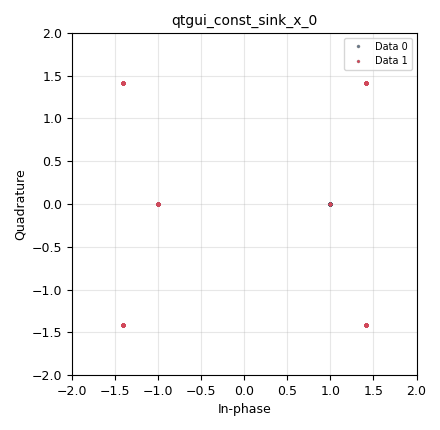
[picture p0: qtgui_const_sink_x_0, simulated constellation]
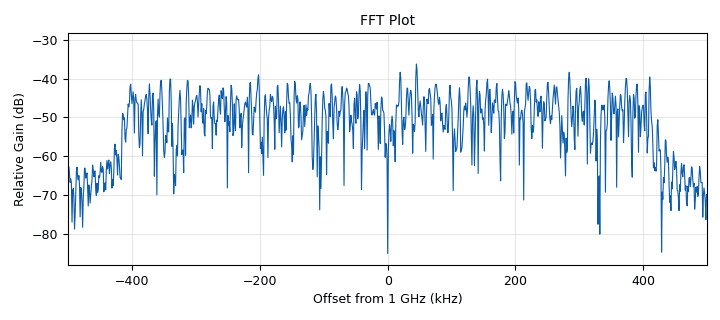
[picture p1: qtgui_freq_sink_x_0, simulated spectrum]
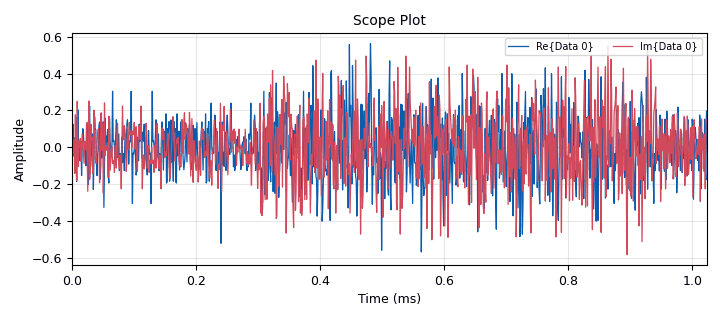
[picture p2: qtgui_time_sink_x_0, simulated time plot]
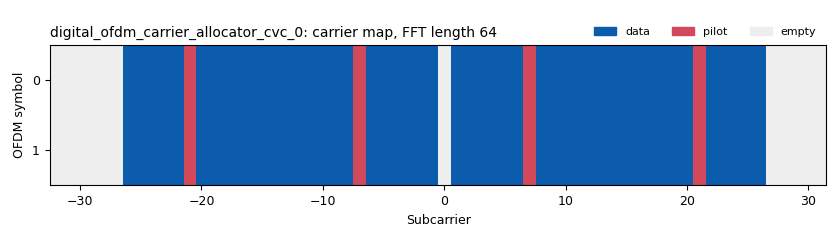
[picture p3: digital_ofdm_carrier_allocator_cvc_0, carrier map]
options:
  parameters:
    category: Custom
    description: OFDM Communication System Implementation on PlutoSDR and GNURadio
    generate_options: qt_gui
    id: ofdm
    output_language: python
    title: ofdm
  states: {}

blocks:
- name: center_freq
  id: variable
  parameters:
    value: 1e9
  states: {}
- name: fft_len
  id: variable
  parameters:
    value: '64'
  states: {}
- name: header_equalizer
  id: variable
  parameters:
    value: digital.ofdm_equalizer_simpledfe(fft_len, header_mod.base(), occupied_carriers, pilot_carriers, pilot_symbols)
  states: {}
- name: header_formatter_rx
  id: variable
  parameters:
    value: digital.packet_header_ofdm(occupied_carriers, n_syms=1, len_tag_key=packet_length_tag_key, frame_len_tag_key=length_tag_key, bits_per_header_sym=header_mod.bits_per_symbol(), bits_per_payload_sym=payload_mod.bits_per_symbol(), scramble_header=False)
  states: {}
- name: header_formatter_tx
  id: variable
  parameters:
    value: digital.header_format_ofdm(occupied_carriers, 1, length_tag_key,)
  states: {}
- name: header_mod
  id: variable
  parameters:
    value: digital.constellation_bpsk()
  states: {}
- name: length_tag_key
  id: variable
  parameters:
    value: '"packet_len"'
  states: {}
- name: occupied_carriers
  id: variable
  parameters:
    value: (list(range(-26, -21)) + list(range(-20, -7)) + list(range(-6, 0)) + list(range(1, 7)) + list(range(8, 21)) + list(range(22, 27)),)
  states: {}
- name: packet_len
  id: variable
  parameters:
    value: '96'
  states: {}
- name: packet_length_tag_key
  id: variable
  parameters:
    value: '"packet_len"'
  states: {}
- name: payload_equalizer
  id: variable
  parameters:
    value: digital.ofdm_equalizer_simpledfe(fft_len, payload_mod.base(), occupied_carriers, pilot_carriers, pilot_symbols, 1)
  states: {}
- name: payload_mod
  id: variable
  parameters:
    value: digital.constellation_qpsk()
  states: {}
- name: pilot_carriers
  id: variable
  parameters:
    value: ((-21, -7, 7, 21,),)
  states: {}
- name: pilot_symbols
  id: variable
  parameters:
    value: ((1, 1, 1, -1,),)
  states: {}
- name: rolloff
  id: variable
  parameters:
    value: '0'
  states: {}
- name: samp_rate
  id: variable
  parameters:
    value: 1e6
  states: {}
- name: sync_word1_rx
  id: variable
  parameters:
    value: '[0., 0., 0., 0., 0., 0., 0., 1.41421356, 0., -1.41421356, 0., 1.41421356, 0., -1.41421356, 0., -1.41421356, 0., -1.41421356, 0., 1.41421356, 0., -1.41421356, 0., 1.41421356, 0., -1.41421356, 0., -1.41421356, 0., -1.41421356, 0., -1.41421356, 0., 1.41421356, 0., -1.41421356, 0., 1.41421356, 0., 1.41421356, 0., 1.41421356, 0., -1.41421356, 0., 1.41421356, 0., 1.41421356, 0., 1.41421356, 0., -1.41421356, 0., 1.41421356, 0., 1.41421356, 0., 1.41421356, 0., 0., 0., 0., 0., 0.]'
  states: {}
- name: sync_word1_tx
  id: variable
  parameters:
    value: '[0., 0., 0., 0., 0., 0., 0., 1.41421356, 0., -1.41421356, 0., 1.41421356, 0., -1.41421356, 0., -1.41421356, 0., -1.41421356, 0., 1.41421356, 0., -1.41421356, 0., 1.41421356, 0., -1.41421356, 0., -1.41421356, 0., -1.41421356, 0., -1.41421356, 0., 1.41421356, 0., -1.41421356, 0., 1.41421356, 0., 1.41421356, 0., 1.41421356, 0., -1.41421356, 0., 1.41421356, 0., 1.41421356, 0., 1.41421356, 0., -1.41421356, 0., 1.41421356, 0., 1.41421356, 0., 1.41421356, 0., 0., 0., 0., 0., 0.]'
  states: {}
- name: sync_word2_rx
  id: variable
  parameters:
    value: '[0j, 0j, 0j, 0j, 0j, 0j, (-1+0j), (-1+0j), (-1+0j), (-1+0j), (1+0j), (1+0j), (-1+0j), (-1+0j), (-1+0j), (1+0j), (-1+0j), (1+0j), (1+0j), (1 +0j), (1+0j), (1+0j), (-1+0j), (-1+0j), (-1+0j), (-1+0j), (-1+0j), (1+0j), (-1+0j), (-1+0j), (1+0j), (-1+0j), 0j, (1+0j), (-1+0j), (1+0j), (1+0j), (1+0j), (-1+0j), (1+0j), (1+0j), (1+0j), (-1+0j), (1+0j), (1+0j), (1+0j), (1+0j), (-1+0j), (1+0j), (-1+0j), (-1+0j), (-1+0j), (1+0j), (-1+0j), (1+0j), (-1+0j), (-1+0j), (-1+0j), (-1+0j), 0j, 0j, 0j, 0j, 0j]'
  states: {}
- name: sync_word2_tx
  id: variable
  parameters:
    value: '[0, 0, 0, 0, 0, 0, -1, -1, -1, -1, 1, 1, -1, -1, -1, 1, -1, 1, 1, 1, 1, 1, -1, -1, -1, -1, -1, 1, -1, -1, 1, -1, 0, 1, -1, 1, 1, 1, -1, 1, 1, 1, -1, 1, 1, 1, 1, -1, 1, -1, -1, -1, 1, -1, 1, -1, -1, -1, -1, 0, 0, 0, 0, 0] '
  states: {}
- name: analog_frequency_modulator_fc_0
  id: analog_frequency_modulator_fc
  parameters:
    sensitivity: '-2.0/fft_len'
  states: {state: disabled}
- name: analog_random_source_x_0
  id: analog_random_source_x
  parameters:
    max: '255'
    min: '0'
    num_samps: '1000'
    repeat: 'True'
    type: byte
  states: {}
- name: blocks_delay_0
  id: blocks_delay
  parameters:
    delay: fft_len+fft_len//4
    type: complex
  states: {state: disabled}
- name: blocks_multiply_const_vxx_0
  id: blocks_multiply_const_vxx
  parameters:
    const: '0.02'
    type: complex
  states: {}
- name: blocks_multiply_xx_0
  id: blocks_multiply_xx
  parameters:
    type: complex
  states: {state: disabled}
- name: blocks_repack_bits_bb_0
  id: blocks_repack_bits_bb
  parameters:
    align_output: 'True'
    endianness: gr.GR_LSB_FIRST
    k: payload_mod.bits_per_symbol()
    l: '8'
    len_tag_key: packet_length_tag_key
  states: {state: disabled}
- name: blocks_repack_bits_bb_1
  id: blocks_repack_bits_bb
  parameters:
    endianness: gr.GR_LSB_FIRST
    k: '8'
    l: int(payload_mod.bits_per_symbol())
    len_tag_key: length_tag_key
  states: {}
- name: blocks_repack_bits_bb_2
  id: blocks_repack_bits_bb
  parameters:
    endianness: gr.GR_LSB_FIRST
    k: '8'
    l: '1'
    len_tag_key: length_tag_key
  states: {}
- name: blocks_stream_to_tagged_stream_0
  id: blocks_stream_to_tagged_stream
  parameters:
    len_tag_key: '"packet_len"'
    packet_len: int(packet_len)
    type: byte
  states: {}
- name: blocks_tag_debug_1
  id: blocks_tag_debug
  parameters:
    name: Rx Bytes
    type: byte
  states: {state: disabled}
- name: blocks_tag_gate_0
  id: blocks_tag_gate
  parameters:
    propagate_tags: 'False'
    type: complex
  states: {}
- name: blocks_tagged_stream_mux_0
  id: blocks_tagged_stream_mux
  parameters:
    lengthtagname: length_tag_key
    ninputs: '2'
    type: complex
  states: {}
- name: blocks_throttle_0
  id: blocks_throttle
  parameters:
    samples_per_second: samp_rate
    type: complex
  states: {}
- name: digital_chunks_to_symbols_xx_0
  id: digital_chunks_to_symbols_xx
  parameters:
    dimension: '1'
    in_type: byte
    out_type: complex
    symbol_table: payload_mod.points()
  states: {}
- name: digital_chunks_to_symbols_xx_0_0
  id: digital_chunks_to_symbols_xx
  parameters:
    dimension: '1'
    in_type: byte
    out_type: complex
    symbol_table: header_mod.points()
  states: {}
- name: digital_constellation_decoder_cb_0
  id: digital_constellation_decoder_cb
  parameters:
    constellation: header_mod.base()
  states: {state: disabled}
- name: digital_constellation_decoder_cb_1
  id: digital_constellation_decoder_cb
  parameters:
    constellation: payload_mod.base()
  states: {state: disabled}
- name: digital_crc32_bb_0
  id: digital_crc32_bb
  parameters:
    check: 'True'
    lengthtagname: packet_length_tag_key
    packed: 'True'
  states: {state: disabled}
- name: digital_crc32_bb_1
  id: digital_crc32_bb
  parameters:
    check: 'False'
    lengthtagname: length_tag_key
    packed: 'True'
  states: {}
- name: digital_header_payload_demux_0
  id: digital_header_payload_demux
  parameters:
    guard_interval: fft_len//4
    header_len: '3'
    header_padding: '0'
    items_per_symbol: fft_len
    length_tag_key: length_tag_key
    output_symbols: 'True'
    samp_rate: int(samp_rate)
    special_tags: ()
    timing_tag_key: '"rx_time"'
    type: complex
  states: {state: disabled}
- name: digital_ofdm_carrier_allocator_cvc_0
  id: digital_ofdm_carrier_allocator_cvc
  parameters:
    fft_len: fft_len
    len_tag_key: length_tag_key
    occupied_carriers: occupied_carriers
    output_is_shifted: 'True'
    pilot_carriers: pilot_carriers
    pilot_symbols: pilot_symbols
    sync_words: (sync_word1_tx, sync_word2_tx)
  states: {}
- name: digital_ofdm_chanest_vcvc_0
  id: digital_ofdm_chanest_vcvc
  parameters:
    force_one_symbol: 'False'
    max_carr_offset: '3'
    n_data_symbols: '1'
    sync_symbol1: sync_word1_rx
    sync_symbol2: sync_word2_rx
  states: {state: disabled}
- name: digital_ofdm_cyclic_prefixer_0
  id: digital_ofdm_cyclic_prefixer
  parameters:
    cp_len: fft_len//4
    input_size: fft_len
    rolloff: rolloff
    tagname: length_tag_key
  states: {}
- name: digital_ofdm_frame_equalizer_vcvc_0
  id: digital_ofdm_frame_equalizer_vcvc
  parameters:
    cp_len: fft_len//4
    equalizer: header_equalizer.base()
    fft_len: fft_len
    fixed_frame_len: '1'
    len_tag_key: length_tag_key
    propagate_channel_state: 'True'
  states: {state: disabled}
- name: digital_ofdm_frame_equalizer_vcvc_1
  id: digital_ofdm_frame_equalizer_vcvc
  parameters:
    cp_len: fft_len//4
    equalizer: payload_equalizer.base()
    fft_len: fft_len
    len_tag_key: length_tag_key
    propagate_channel_state: 'True'
  states: {state: disabled}
- name: digital_ofdm_serializer_vcc_header
  id: digital_ofdm_serializer_vcc
  parameters:
    carr_offset_key: ''
    fft_len: fft_len
    len_tag_key: length_tag_key
    occupied_carriers: occupied_carriers
    packet_len_tag_key: ''
  states: {state: disabled}
- name: digital_ofdm_serializer_vcc_payload
  id: digital_ofdm_serializer_vcc
  parameters:
    carr_offset_key: ''
    fft_len: fft_len
    len_tag_key: length_tag_key
    occupied_carriers: occupied_carriers
    packet_len_tag_key: packet_length_tag_key
    symbols_skipped: '1'
  states: {state: disabled}
- name: digital_ofdm_sync_sc_cfb_0
  id: digital_ofdm_sync_sc_cfb
  parameters:
    cp_len: fft_len//4
    fft_len: fft_len
    threshold: '0.9'
  states: {state: disabled}
- name: digital_packet_headerparser_b_0
  id: digital_packet_headerparser_b
  parameters:
    header_formatter: header_formatter_rx.base()
  states: {state: disabled}
- name: digital_protocol_formatter_bb_0
  id: digital_protocol_formatter_bb
  parameters:
    format: header_formatter_tx
    len_tag_key: length_tag_key
  states: {}
- name: fft_vxx_0
  id: fft_vxx
  parameters:
    fft_size: fft_len
    forward: 'True'
    shift: 'True'
    type: complex
    window: ()
  states: {state: disabled}
- name: fft_vxx_1
  id: fft_vxx
  parameters:
    fft_size: fft_len
    forward: 'True'
    shift: 'True'
    type: complex
    window: ()
  states: {state: disabled}
- name: fft_vxx_2
  id: fft_vxx
  parameters:
    fft_size: fft_len
    forward: 'False'
    shift: 'True'
    type: complex
    window: ()
  states: {}
- name: iio_pluto_sink_0
  id: iio_pluto_sink
  parameters:
    attenuation1: '50'
    auto_filter: 'True'
    bandwidth: '1000000'
    buffer_size: '32768'
    cyclic: 'False'
    frequency: int(center_freq)
    samplerate: int(samp_rate)
  states: {}
- name: iio_pluto_source_0
  id: iio_pluto_source
  parameters:
    auto_filter: 'True'
    bandwidth: '20000000'
    bbdc: 'True'
    buffer_size: '32768'
    frequency: int(433e6)
    gain1: '''slow_attack'''
    quadrature: 'True'
    rfdc: 'True'
    samplerate: int(1e6)
  states: {state: disabled}
- name: import_1
  id: import
  parameters:
    imports: from gnuradio.digital.utils import tagged_streams
  states: {}
- name: qtgui_const_sink_x_0
  id: qtgui_const_sink_x
  parameters:
    nconnections: '2'
    size: '1024'
    type: complex
  states: {}
- name: qtgui_freq_sink_x_0
  id: qtgui_freq_sink_x
  parameters:
    autoscale: 'True'
    bw: samp_rate
    fc: center_freq
    fftsize: '1024'
    name: FFT Plot
    showports: 'True'
    type: complex
    wintype: firdes.WIN_BLACKMAN_hARRIS
  states: {}
- name: qtgui_time_sink_x_0
  id: qtgui_time_sink_x
  parameters:
    autoscale: 'True'
    name: Scope Plot
    size: '1024'
    srate: samp_rate
    type: complex
  states: {}
- name: virtual_sink_0
  id: virtual_sink
  parameters:
    stream_id: Header Stream
  states: {state: disabled}
- name: virtual_sink_1
  id: virtual_sink
  parameters:
    stream_id: Payload Stream
  states: {state: disabled}
- name: virtual_sink_1_0
  id: virtual_sink
  parameters:
    stream_id: Payload IQ
  states: {state: disabled}
- name: virtual_source_0
  id: virtual_source
  parameters:
    stream_id: Header Stream
  states: {state: disabled}
- name: virtual_source_0_0
  id: virtual_source
  parameters:
    stream_id: Payload IQ
  states: {state: disabled}
- name: virtual_source_1
  id: virtual_source
  parameters:
    stream_id: Payload Stream
  states: {state: disabled}

connections:
- [analog_frequency_modulator_fc_0, '0', blocks_multiply_xx_0, '0']
- [analog_random_source_x_0, '0', blocks_stream_to_tagged_stream_0, '0']
- [blocks_delay_0, '0', blocks_multiply_xx_0, '1']
- [blocks_multiply_const_vxx_0, '0', blocks_tag_gate_0, '0']
- [blocks_multiply_xx_0, '0', digital_header_payload_demux_0, '0']
- [blocks_repack_bits_bb_0, '0', digital_crc32_bb_0, '0']
- [blocks_repack_bits_bb_1, '0', digital_chunks_to_symbols_xx_0, '0']
- [blocks_repack_bits_bb_2, '0', digital_chunks_to_symbols_xx_0_0, '0']
- [blocks_stream_to_tagged_stream_0, '0', digital_crc32_bb_1, '0']
- [blocks_tag_gate_0, '0', blocks_throttle_0, '0']
- [blocks_tag_gate_0, '0', iio_pluto_sink_0, '0']
- [blocks_tagged_stream_mux_0, '0', digital_ofdm_carrier_allocator_cvc_0, '0']
- [blocks_tagged_stream_mux_0, '0', qtgui_const_sink_x_0, '1']
- [blocks_throttle_0, '0', qtgui_freq_sink_x_0, '0']
- [blocks_throttle_0, '0', qtgui_time_sink_x_0, '0']
- [digital_chunks_to_symbols_xx_0, '0', blocks_tagged_stream_mux_0, '1']
- [digital_chunks_to_symbols_xx_0_0, '0', blocks_tagged_stream_mux_0, '0']
- [digital_chunks_to_symbols_xx_0_0, '0', qtgui_const_sink_x_0, '0']
- [digital_constellation_decoder_cb_0, '0', digital_packet_headerparser_b_0, '0']
- [digital_constellation_decoder_cb_1, '0', blocks_repack_bits_bb_0, '0']
- [digital_crc32_bb_0, '0', blocks_tag_debug_1, '0']
- [digital_crc32_bb_1, '0', blocks_repack_bits_bb_1, '0']
- [digital_crc32_bb_1, '0', digital_protocol_formatter_bb_0, '0']
- [digital_header_payload_demux_0, '0', virtual_sink_0, '0']
- [digital_header_payload_demux_0, '1', virtual_sink_1, '0']
- [digital_ofdm_carrier_allocator_cvc_0, '0', fft_vxx_2, '0']
- [digital_ofdm_chanest_vcvc_0, '0', digital_ofdm_frame_equalizer_vcvc_0, '0']
- [digital_ofdm_cyclic_prefixer_0, '0', blocks_multiply_const_vxx_0, '0']
- [digital_ofdm_frame_equalizer_vcvc_0, '0', digital_ofdm_serializer_vcc_header, '0']
- [digital_ofdm_frame_equalizer_vcvc_1, '0', digital_ofdm_serializer_vcc_payload, '0']
- [digital_ofdm_serializer_vcc_header, '0', digital_constellation_decoder_cb_0, '0']
- [digital_ofdm_serializer_vcc_payload, '0', virtual_sink_1_0, '0']
- [digital_ofdm_sync_sc_cfb_0, '0', analog_frequency_modulator_fc_0, '0']
- [digital_ofdm_sync_sc_cfb_0, '1', digital_header_payload_demux_0, '1']
- [digital_packet_headerparser_b_0, header_data, digital_header_payload_demux_0, header_data]
- [digital_protocol_formatter_bb_0, '0', blocks_repack_bits_bb_2, '0']
- [fft_vxx_0, '0', digital_ofdm_chanest_vcvc_0, '0']
- [fft_vxx_1, '0', digital_ofdm_frame_equalizer_vcvc_1, '0']
- [fft_vxx_2, '0', digital_ofdm_cyclic_prefixer_0, '0']
- [iio_pluto_source_0, '0', blocks_delay_0, '0']
- [iio_pluto_source_0, '0', digital_ofdm_sync_sc_cfb_0, '0']
- [virtual_source_0, '0', fft_vxx_0, '0']
- [virtual_source_0_0, '0', digital_constellation_decoder_cb_1, '0']
- [virtual_source_1, '0', fft_vxx_1, '0']

metadata:
  file_format: 1
